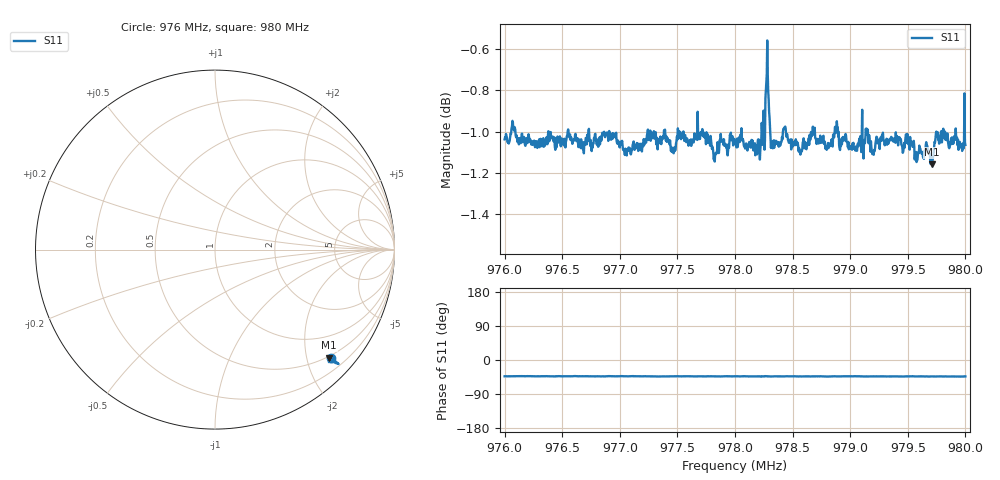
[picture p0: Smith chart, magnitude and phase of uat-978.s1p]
! Calibrated averaged scanner-service zoom
# Hz S RI R 50
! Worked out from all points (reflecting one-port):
!   1001 points, 976 MHz to 980 MHz, reference 50 ohm
!   lowest |S11| = -1.2 dB at 979.708 MHz (marker M1), VSWR 15.00, Z = 23.7 - j121 ohm
!   phase of S11 starts at -43 deg and turns -0 deg over the sweep
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9.76e8  0.649 -0.6051
9.765e8  0.6479 -0.605
9.76692e8  0.6495 -0.6024
9.76856e8  0.6498 -0.6091
9.77e8  0.6474 -0.6009
9.77292e8  0.6502 -0.6051
9.77336e8  0.6423 -0.6103
9.775e8  0.6503 -0.6037
9.77772e8  0.6471 -0.6045
9.77836e8  0.6408 -0.6032
9.78e8  0.649 -0.6036
9.78208e8  0.6482 -0.6057
9.78236e8  0.649 -0.6108
9.7828e8  0.6884 -0.6369
9.78324e8  0.644 -0.6087
9.785e8  0.6487 -0.6037
9.78564e8  0.6416 -0.6034
9.78684e8  0.6514 -0.6085
9.78804e8  0.6396 -0.6111
9.7888e8  0.6506 -0.6113
9.79e8  0.6438 -0.6041
9.7914e8  0.6482 -0.6095
9.79192e8  0.6415 -0.6025
9.795e8  0.6465 -0.6075
9.79708e8  0.6351 -0.6019
9.79768e8  0.6488 -0.6054
9.7996e8  0.6375 -0.6116
9.8e8  0.6437 -0.6068
